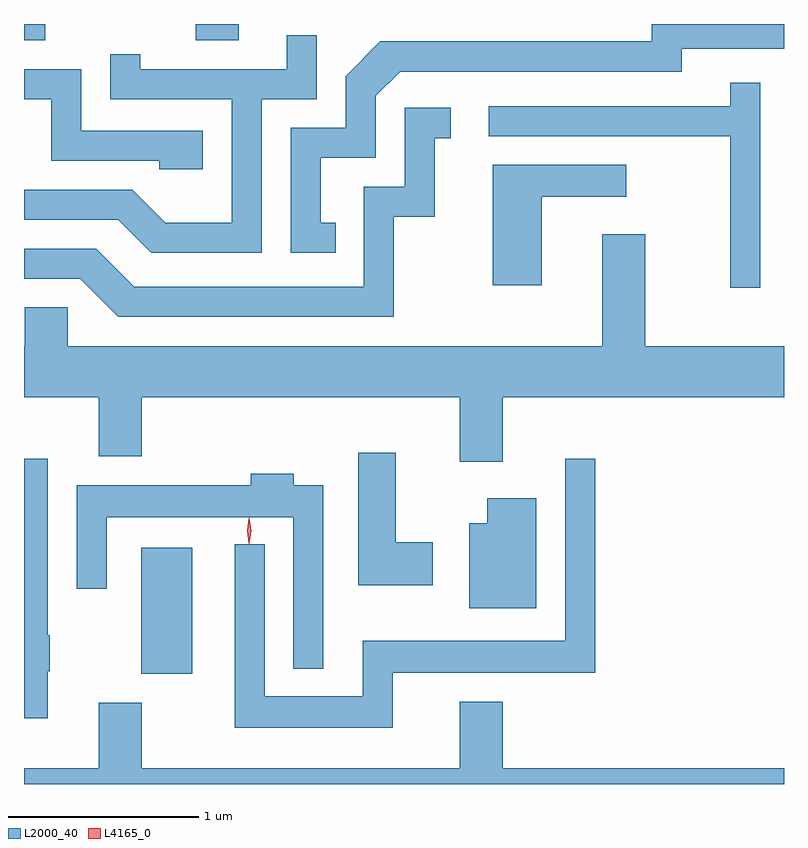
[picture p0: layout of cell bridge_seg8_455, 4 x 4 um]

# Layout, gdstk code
import gdstk
lib = gdstk.Library(unit=1e-6, precision=1e-09)
def R(c, l, rs):  # rectangles x0, y0, x1, y1
    for r in rs: c.add(gdstk.rectangle(r[:2], r[2:], *l))
def P(c, l, *ps):  # polygons
    for p in ps: c.add(gdstk.Polygon(p, *l))
L2000_40 = (2000, 40)
L4165_0 = (4165, 0)

bridge_seg8_455 = lib.new_cell('bridge_seg8_455')
R(bridge_seg8_455, L2000_40, [(544.936,1932.641,545.204,1933.304), (544.318,1935.976,544.429,1936.061), (545.221,1935.976,545.449,1936.061)])
P(bridge_seg8_455, L2000_40, [(545.958,1935.014),(545.879,1935.014),(545.879,1935.356),(546.169,1935.356),(546.169,1935.684),(546.297,1935.811),(547.779,1935.811),(547.779,1935.931),(548.318,1935.931),(548.318,1936.061),(547.621,1936.061),(547.621,1935.969),(546.194,1935.969),(546.011,1935.787),(546.011,1935.514),(545.721,1935.514),(545.721,1934.856),(545.958,1934.856)],
  [(545.569,1935.666),(545.859,1935.666),(545.859,1936.003),(545.701,1936.003),(545.701,1935.824),(544.929,1935.824),(544.929,1935.903),(544.771,1935.903),(544.771,1935.666),(545.411,1935.666),(545.411,1935.014),(545.062,1935.014),(544.887,1935.189),(544.318,1935.189),(544.318,1935.031),(544.814,1935.031),(544.989,1934.856),(545.569,1934.856)],
  [(545.259,1935.499),(544.619,1935.499),(544.619,1935.824),(544.318,1935.824),(544.318,1935.666),(544.461,1935.666),(544.461,1935.341),(545.031,1935.341),(545.031,1935.296),(545.259,1935.296)],
  [(548.194,1935.753),(548.036,1935.753),(548.036,1935.629),(546.763,1935.629),(546.763,1935.471),(548.036,1935.471),(548.036,1934.673),(548.194,1934.673)],
  [(546.264,1935.046),(546.479,1935.046),(546.479,1935.461),(546.563,1935.461),(546.563,1935.619),(546.321,1935.619),(546.321,1935.204),(546.106,1935.204),(546.106,1934.679),(544.897,1934.679),(544.697,1934.879),(544.318,1934.879),(544.318,1934.721),(544.614,1934.721),(544.814,1934.521),(546.264,1934.521)],
  [(547.044,1935.151),(547.488,1935.151),(547.488,1935.319),(546.786,1935.319),(546.786,1934.686),(547.044,1934.686)],
  [(546.839,1934.096),(548.318,1934.096),(548.318,1934.364),(547.589,1934.364),(547.589,1934.954),(547.361,1934.954),(547.361,1934.364),(544.549,1934.364),(544.549,1934.569),(544.321,1934.569),(544.321,1934.364),(544.318,1934.364),(544.318,1934.096),(544.711,1934.096),(544.711,1933.786),(544.939,1933.786),(544.939,1934.096),(546.611,1934.096),(546.611,1933.756),(546.839,1933.756)],
  [(546.469,1933.334),(546.274,1933.334),(546.274,1933.804),(546.076,1933.804),(546.076,1933.106),(546.469,1933.106)],
  [(546.259,1932.646),(547.324,1932.646),(547.324,1933.773),(547.166,1933.773),(547.166,1932.814),(546.101,1932.814),(546.101,1932.524),(545.584,1932.524),(545.584,1933.323),(545.426,1933.323),(545.426,1932.356),(546.259,1932.356)],
  [(544.444,1932.655),(544.454,1932.655),(544.454,1932.845),(544.444,1932.845),(544.444,1933.773),(544.318,1933.773),(544.318,1932.406),(544.444,1932.406)],
  [(545.894,1933.634),(545.739,1933.634),(545.739,1933.694),(545.511,1933.694),(545.511,1933.634),(544.596,1933.634),(544.596,1933.088),(544.754,1933.088),(544.754,1933.466),(545.736,1933.466),(545.736,1932.668),(545.894,1932.668)],
  [(547.014,1933.564),(546.756,1933.564),(546.756,1933.434),(546.661,1933.434),(546.661,1932.986),(547.014,1932.986)],
  [(548.318,1932.144),(546.839,1932.144),(546.839,1932.494),(546.611,1932.494),(546.611,1932.144),(544.939,1932.144),(544.939,1932.489),(544.711,1932.489),(544.711,1932.144),(544.318,1932.144),(544.318,1932.061),(548.318,1932.061)])
P(bridge_seg8_455, L4165_0, [(545.503,1933.324),(545.494,1933.394),(545.503,1933.462),(545.504,1933.463),(545.504,1933.462),(545.514,1933.394),(545.504,1933.324),(545.504,1933.324)],
  [(545.502,1933.327),(545.502,1933.327),(545.492,1933.394),(545.502,1933.46),(545.502,1933.46),(545.503,1933.46),(545.512,1933.394),(545.503,1933.327)])

lib.write_gds('bridge_seg8_455.gds')
